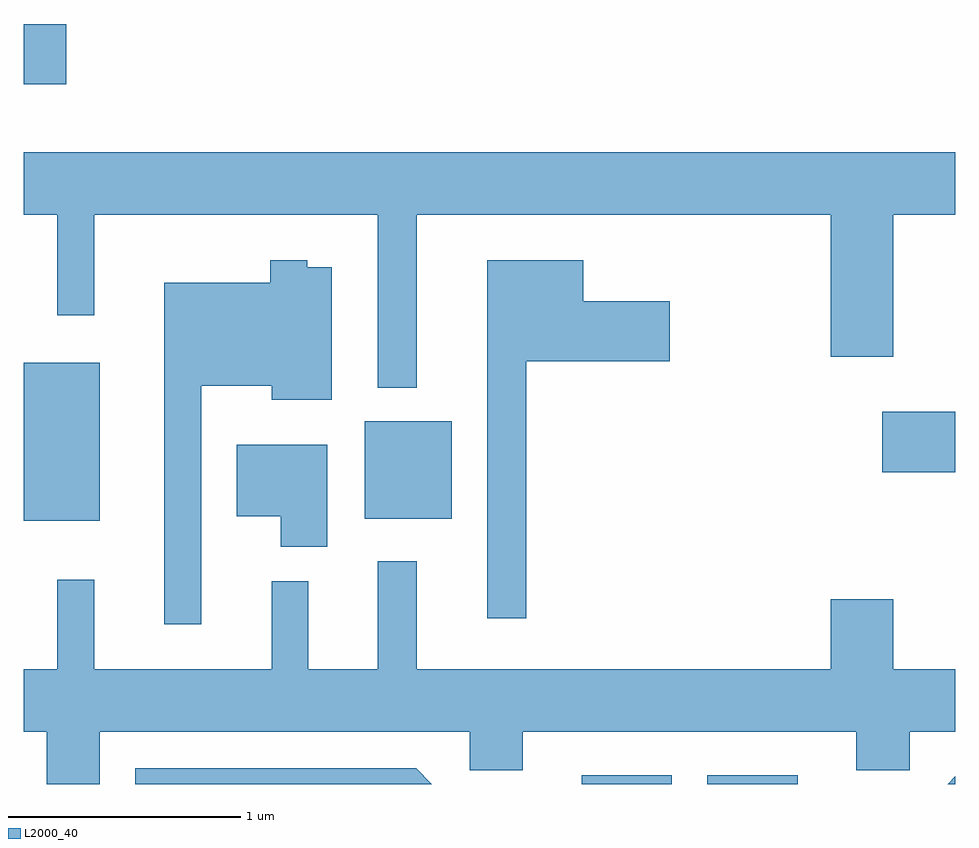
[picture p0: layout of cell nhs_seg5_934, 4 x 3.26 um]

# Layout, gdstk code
import gdstk
lib = gdstk.Library(unit=1e-6, precision=1e-09)
def R(c, l, rs):  # rectangles x0, y0, x1, y1
    for r in rs: c.add(gdstk.rectangle(r[:2], r[2:], *l))
def P(c, l, *ps):  # polygons
    for p in ps: c.add(gdstk.Polygon(p, *l))
L2000_40 = (2000, 40)

nhs_seg5_934 = lib.new_cell('nhs_seg5_934')
R(nhs_seg5_934, L2000_40, [(214.008,1512.072,214.394,1512.109), (214.546,1512.072,214.933,1512.109), (211.611,1513.201,211.939,1513.879), (213.076,1513.211,213.449,1513.629), (215.296,1513.411,215.611,1513.669), (211.611,1515.076,211.794,1515.334)])
P(nhs_seg5_934, L2000_40, [(213.299,1514.516),(215.076,1514.516),(215.076,1513.906),(215.344,1513.906),(215.344,1514.516),(215.611,1514.516),(215.611,1514.784),(211.611,1514.784),(211.611,1514.516),(211.756,1514.516),(211.756,1514.083),(211.914,1514.083),(211.914,1514.516),(213.131,1514.516),(213.131,1513.773),(213.299,1513.773)],
  [(213.769,1513.886),(214.384,1513.886),(214.384,1514.144),(214.014,1514.144),(214.014,1514.319),(213.601,1514.319),(213.601,1512.783),(213.769,1512.783)],
  [(212.374,1513.781),(212.676,1513.781),(212.676,1513.721),(212.934,1513.721),(212.934,1514.289),(212.829,1514.289),(212.829,1514.319),(212.671,1514.319),(212.671,1514.224),(212.216,1514.224),(212.216,1512.758),(212.374,1512.758)],
  [(212.914,1513.529),(212.526,1513.529),(212.526,1513.221),(212.716,1513.221),(212.716,1513.091),(212.914,1513.091)],
  [(211.939,1512.296),(213.526,1512.296),(213.526,1512.131),(213.754,1512.131),(213.754,1512.296),(215.186,1512.296),(215.186,1512.131),(215.414,1512.131),(215.414,1512.296),(215.611,1512.296),(215.611,1512.564),(215.344,1512.564),(215.344,1512.864),(215.076,1512.864),(215.076,1512.564),(213.299,1512.564),(213.299,1513.028),(213.131,1513.028),(213.131,1512.564),(212.834,1512.564),(212.834,1512.943),(212.676,1512.943),(212.676,1512.564),(211.914,1512.564),(211.914,1512.948),(211.756,1512.948),(211.756,1512.564),(211.611,1512.564),(211.611,1512.296),(211.711,1512.296),(211.711,1512.072),(211.939,1512.072)],
  [(213.297,1512.139),(212.091,1512.139),(212.091,1512.072),(213.364,1512.072)],
  [(215.611,1512.106),(215.577,1512.072),(215.611,1512.072)])

lib.write_gds('nhs_seg5_934.gds')
